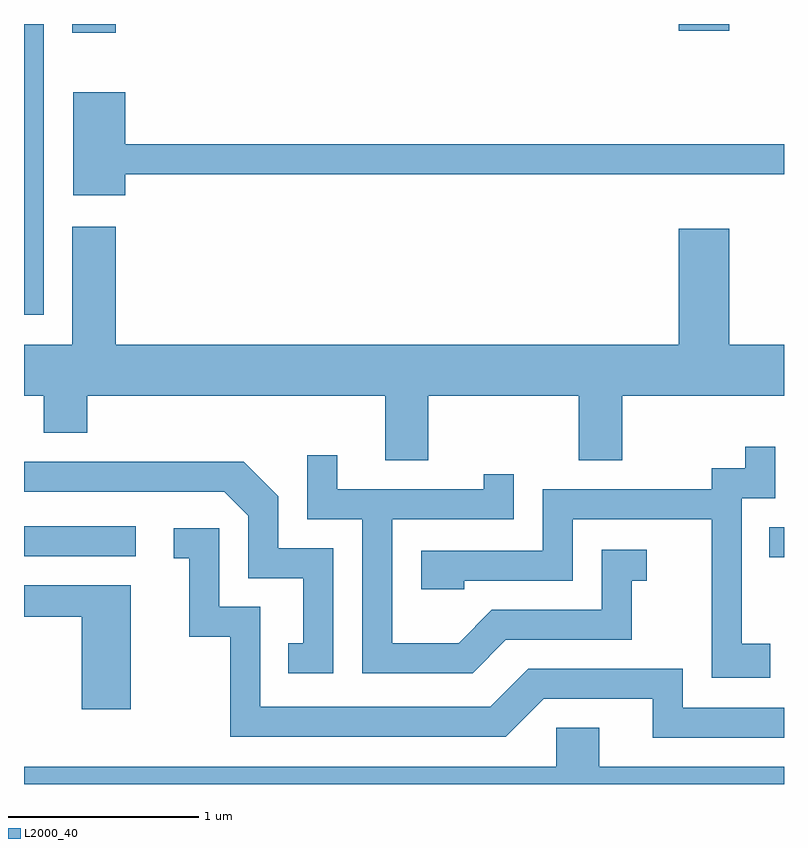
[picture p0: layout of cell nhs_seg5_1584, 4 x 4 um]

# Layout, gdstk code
import gdstk
lib = gdstk.Library(unit=1e-6, precision=1e-09)
def R(c, l, rs):  # rectangles x0, y0, x1, y1
    for r in rs: c.add(gdstk.rectangle(r[:2], r[2:], *l))
def P(c, l, *ps):  # polygons
    for p in ps: c.add(gdstk.Polygon(p, *l))
L2000_40 = (2000, 40)

nhs_seg5_1584 = lib.new_cell('nhs_seg5_1584')
R(nhs_seg5_1584, L2000_40, [(235.533,1469.266,235.611,1469.424), (231.611,1469.271,232.198,1469.429), (231.611,1470.541,231.714,1472.072), (231.866,1472.026,232.094,1472.072), (235.056,1472.036,235.324,1472.072)])
P(nhs_seg5_1584, L2000_40, [(232.144,1471.281),(235.611,1471.281),(235.611,1471.439),(232.144,1471.439),(232.144,1471.714),(231.871,1471.714),(231.871,1471.171),(232.144,1471.171)],
  [(233.739,1470.116),(234.531,1470.116),(234.531,1469.776),(234.759,1469.776),(234.759,1470.116),(235.611,1470.116),(235.611,1470.384),(235.324,1470.384),(235.324,1470.994),(235.056,1470.994),(235.056,1470.384),(232.094,1470.384),(232.094,1471.004),(231.866,1471.004),(231.866,1470.384),(231.611,1470.384),(231.611,1470.116),(231.716,1470.116),(231.716,1469.921),(231.944,1469.921),(231.944,1470.116),(233.511,1470.116),(233.511,1469.776),(233.739,1469.776)],
  [(235.539,1468.809),(235.389,1468.809),(235.389,1469.576),(235.564,1469.576),(235.564,1469.848),(235.406,1469.848),(235.406,1469.734),(235.231,1469.734),(235.231,1469.624),(234.341,1469.624),(234.341,1469.299),(233.701,1469.299),(233.701,1469.096),(233.929,1469.096),(233.929,1469.141),(234.499,1469.141),(234.499,1469.466),(235.231,1469.466),(235.231,1468.631),(235.539,1468.631)],
  [(234.147,1468.831),(234.809,1468.831),(234.809,1469.141),(234.888,1469.141),(234.888,1469.304),(234.651,1469.304),(234.651,1468.989),(234.074,1468.989),(233.899,1468.814),(233.549,1468.814),(233.549,1469.466),(234.189,1469.466),(234.189,1469.703),(234.031,1469.703),(234.031,1469.624),(233.259,1469.624),(233.259,1469.803),(233.101,1469.803),(233.101,1469.466),(233.391,1469.466),(233.391,1468.656),(233.972,1468.656)],
  [(233.239,1469.314),(232.949,1469.314),(232.949,1469.587),(232.767,1469.769),(231.611,1469.769),(231.611,1469.611),(232.664,1469.611),(232.791,1469.484),(232.791,1469.156),(233.081,1469.156),(233.081,1468.814),(233.003,1468.814),(233.003,1468.656),(233.239,1468.656)],
  [(235.611,1468.474),(235.079,1468.474),(235.079,1468.679),(234.264,1468.679),(234.064,1468.479),(232.854,1468.479),(232.854,1469.004),(232.639,1469.004),(232.639,1469.419),(232.398,1469.419),(232.398,1469.261),(232.481,1469.261),(232.481,1468.846),(232.696,1468.846),(232.696,1468.321),(234.147,1468.321),(234.347,1468.521),(234.921,1468.521),(234.921,1468.316),(235.611,1468.316)],
  [(232.174,1469.119),(231.611,1469.119),(231.611,1468.951),(231.916,1468.951),(231.916,1468.466),(232.174,1468.466)],
  [(235.611,1468.164),(234.639,1468.164),(234.639,1468.369),(234.411,1468.369),(234.411,1468.164),(231.611,1468.164),(231.611,1468.072),(235.611,1468.072)])

lib.write_gds('nhs_seg5_1584.gds')
